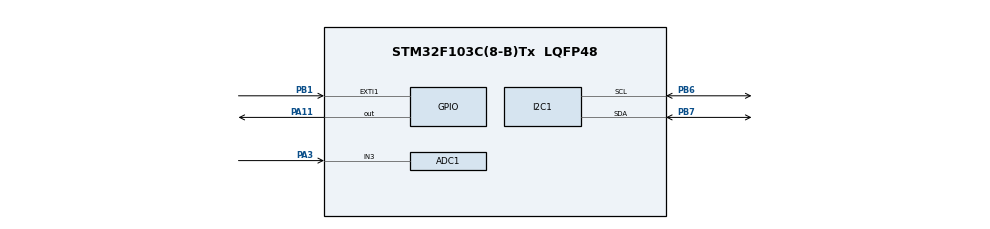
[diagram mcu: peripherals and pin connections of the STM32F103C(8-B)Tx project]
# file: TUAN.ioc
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ADC1.Channel-0\#ChannelRegularConversion=ADC_CHANNEL_3
ADC1.NbrOfConversionFlag=1
ADC1.Rank-0\#ChannelRegularConversion=1
ADC1.SamplingTime-0\#ChannelRegularConversion=ADC_SAMPLETIME_1CYCLE_5
ADC1.master=1
Mcu.Family=STM32F1
Mcu.Name=STM32F103C(8-B)Tx
Mcu.Package=LQFP48
NVIC.ADC1_2_IRQn=true\:0\:0\:false\:false\:true\:true\:true\:true
NVIC.EXTI1_IRQn=true\:2\:0\:true\:false\:true\:true\:true\:true
NVIC.PriorityGroup=NVIC_PRIORITYGROUP_4
PA11.Signal=GPIO_Output
PA13.Mode=Serial_Wire
PA13.Signal=SYS_JTMS-SWDIO
PA14.Mode=Serial_Wire
PA14.Signal=SYS_JTCK-SWCLK
PA3.Signal=ADCx_IN3
PB1.Signal=GPXTI1
PB6.Mode=I2C
PB6.Signal=I2C1_SCL
PB7.Mode=I2C
PB7.Signal=I2C1_SDA
PD0-OSC_IN.Mode=HSE-External-Oscillator
PD0-OSC_IN.Signal=RCC_OSC_IN
PD1-OSC_OUT.Mode=HSE-External-Oscillator
PD1-OSC_OUT.Signal=RCC_OSC_OUT
ProjectManager.HeapSize=0x200
ProjectManager.StackSize=0x400
ProjectManager.TargetToolchain=STM32CubeIDE
RCC.APB1Freq_Value=8000000
RCC.APB2Freq_Value=8000000
SH.ADCx_IN3.0=ADC1_IN3,IN3
board=custom

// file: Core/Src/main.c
/* USER CODE BEGIN Header */
/**
  ******************************************************************************
  * @file           : main.c
  * @brief          : Main program body
  ******************************************************************************
  * @attention
  *
  * Copyright (c) 2023 STMicroelectronics.
  * All rights reserved.
  *
  * This software is licensed under terms that can be found in the LICENSE file
  * in the root directory of this software component.
  * If no LICENSE file comes with this software, it is provided AS-IS.
  *
  ******************************************************************************
  */
/* USER CODE END Header */
#include "main.h"

/* USER CODE BEGIN Includes */
#include "stdio.h"
#include "i2c-lcd.h"

/* USER CODE END Includes */

ADC_HandleTypeDef hadc1;

I2C_HandleTypeDef hi2c1;

void SystemClock_Config(void);
static void MX_GPIO_Init(void);
static void MX_ADC1_Init(void);
static void MX_I2C1_Init(void);

/* USER CODE BEGIN 0 */
float t,v;
uint16_t value;
/*void HAL_GPIO_EXTI_Callback(uint16_t GPIO_Pin)
{
	if(GPIO_Pin==GPIO_PIN_1)
	{
		HAL_UART_Transmit(&huart1,send_data2,sizeof(send_data),100);
	}
	}*/

/* USER CODE END 0 */

int main(void)
{

  /* MCU Configuration--------------------------------------------------------*/

  /* Reset of all peripherals, Initializes the Flash interface and the Systick. */
  HAL_Init();

  /* Configure the system clock */
  SystemClock_Config();

  /* Initialize all configured peripherals */
  MX_GPIO_Init();
  MX_ADC1_Init();
  MX_I2C1_Init();
  /* USER CODE BEGIN 2 */
  uint16_t value;
  lcd_init();
  HAL_ADCEx_Calibration_Start(&hadc1);

  /* USER CODE END 2 */

  /* Infinite loop */
  while (1)
  {

    /* USER CODE BEGIN 3 */
	  /*HAL_ADC_Start(&hadc1);
	  HAL_ADC_PollForConversion(&hadc1,1000);
	  value = HAL_ADC_GetValue(&hadc1);
	  t = (value/4096.0)*3.3*100;
	  lcd_goto_XY(0,9);
	  char buffer[11];
	  sprintf(buffer,"%.2f",t);  // Changed %d to %.2f
	  lcd_send_string(buffer);
	  lcd_send_string(" C");*/
	  //HAL_GPIO_WritePin(GPIOA,GPIO_PIN_11,GPIO_PIN_SET);

	  HAL_ADC_Start(&hadc1);
	  HAL_ADC_PollForConversion(&hadc1,1000);
	  value = HAL_ADC_GetValue(&hadc1);
	  v=(value/4096.0)*3.3;

	  if(v<1){
		  HAL_GPIO_WritePin(GPIOA, GPIO_PIN_11,GPIO_PIN_SET);

		  lcd_goto_XY(0,0);
		  lcd_send_string("WANRNING!");
		  HAL_Delay(1000);

	  }
	  else{

		  HAL_GPIO_WritePin(GPIOA, GPIO_PIN_11, GPIO_PIN_RESET);
		  lcd_clear_display();
		  lcd_goto_XY(0,0);
		  lcd_send_string(" No Fire");
	  }

	  HAL_Delay(1000);

  }
  /* USER CODE END 3 */
}

void SystemClock_Config(void)
{
  RCC_OscInitTypeDef RCC_OscInitStruct = {0};
  RCC_ClkInitTypeDef RCC_ClkInitStruct = {0};
  RCC_PeriphCLKInitTypeDef PeriphClkInit = {0};

  /** Initializes the RCC Oscillators according to the specified parameters
  * in the RCC_OscInitTypeDef structure.
  */
  RCC_OscInitStruct.OscillatorType = RCC_OSCILLATORTYPE_HSI;
  RCC_OscInitStruct.HSIState = RCC_HSI_ON;
  RCC_OscInitStruct.HSICalibrationValue = RCC_HSICALIBRATION_DEFAULT;
  RCC_OscInitStruct.PLL.PLLState = RCC_PLL_NONE;
  if (HAL_RCC_OscConfig(&RCC_OscInitStruct) != HAL_OK)
  {
    Error_Handler();
  }

  /** Initializes the CPU, AHB and APB buses clocks
  */
  RCC_ClkInitStruct.ClockType = RCC_CLOCKTYPE_HCLK|RCC_CLOCKTYPE_SYSCLK
                              |RCC_CLOCKTYPE_PCLK1|RCC_CLOCKTYPE_PCLK2;
  RCC_ClkInitStruct.SYSCLKSource = RCC_SYSCLKSOURCE_HSI;
  RCC_ClkInitStruct.AHBCLKDivider = RCC_SYSCLK_DIV1;
  RCC_ClkInitStruct.APB1CLKDivider = RCC_HCLK_DIV1;
  RCC_ClkInitStruct.APB2CLKDivider = RCC_HCLK_DIV1;

  if (HAL_RCC_ClockConfig(&RCC_ClkInitStruct, FLASH_LATENCY_0) != HAL_OK)
  {
    Error_Handler();
  }
  PeriphClkInit.PeriphClockSelection = RCC_PERIPHCLK_ADC;
  PeriphClkInit.AdcClockSelection = RCC_ADCPCLK2_DIV2;
  if (HAL_RCCEx_PeriphCLKConfig(&PeriphClkInit) != HAL_OK)
  {
    Error_Handler();
  }
}

static void MX_ADC1_Init(void)
{

  ADC_ChannelConfTypeDef sConfig = {0};

  /** Common config
  */
  hadc1.Instance = ADC1;
  hadc1.Init.ScanConvMode = ADC_SCAN_DISABLE;
  hadc1.Init.ContinuousConvMode = DISABLE;
  hadc1.Init.DiscontinuousConvMode = DISABLE;
  hadc1.Init.ExternalTrigConv = ADC_SOFTWARE_START;
  hadc1.Init.DataAlign = ADC_DATAALIGN_RIGHT;
  hadc1.Init.NbrOfConversion = 1;
  if (HAL_ADC_Init(&hadc1) != HAL_OK)
  {
    Error_Handler();
  }

  /** Configure Regular Channel
  */
  sConfig.Channel = ADC_CHANNEL_3;
  sConfig.Rank = ADC_REGULAR_RANK_1;
  sConfig.SamplingTime = ADC_SAMPLETIME_1CYCLE_5;
  if (HAL_ADC_ConfigChannel(&hadc1, &sConfig) != HAL_OK)
  {
    Error_Handler();
  }

}

static void MX_I2C1_Init(void)
{

  hi2c1.Instance = I2C1;
  hi2c1.Init.ClockSpeed = 100000;
  hi2c1.Init.DutyCycle = I2C_DUTYCYCLE_2;
  hi2c1.Init.OwnAddress1 = 0;
  hi2c1.Init.AddressingMode = I2C_ADDRESSINGMODE_7BIT;
  hi2c1.Init.DualAddressMode = I2C_DUALADDRESS_DISABLE;
  hi2c1.Init.OwnAddress2 = 0;
  hi2c1.Init.GeneralCallMode = I2C_GENERALCALL_DISABLE;
  hi2c1.Init.NoStretchMode = I2C_NOSTRETCH_DISABLE;
  if (HAL_I2C_Init(&hi2c1) != HAL_OK)
  {
    Error_Handler();
  }

}

static void MX_GPIO_Init(void)
{
  GPIO_InitTypeDef GPIO_InitStruct = {0};

  /* GPIO Ports Clock Enable */
  __HAL_RCC_GPIOD_CLK_ENABLE();
  __HAL_RCC_GPIOA_CLK_ENABLE();
  __HAL_RCC_GPIOB_CLK_ENABLE();

  /*Configure GPIO pin Output Level */
  HAL_GPIO_WritePin(GPIOA, GPIO_PIN_11, GPIO_PIN_RESET);

  /*Configure GPIO pin : PB1 */
  GPIO_InitStruct.Pin = GPIO_PIN_1;
  GPIO_InitStruct.Mode = GPIO_MODE_IT_RISING;
  GPIO_InitStruct.Pull = GPIO_NOPULL;
  HAL_GPIO_Init(GPIOB, &GPIO_InitStruct);

  /*Configure GPIO pin : PA11 */
  GPIO_InitStruct.Pin = GPIO_PIN_11;
  GPIO_InitStruct.Mode = GPIO_MODE_OUTPUT_PP;
  GPIO_InitStruct.Pull = GPIO_NOPULL;
  GPIO_InitStruct.Speed = GPIO_SPEED_FREQ_LOW;
  HAL_GPIO_Init(GPIOA, &GPIO_InitStruct);

  /* EXTI interrupt init*/
  HAL_NVIC_SetPriority(EXTI1_IRQn, 2, 0);
  HAL_NVIC_EnableIRQ(EXTI1_IRQn);

}

void Error_Handler(void)
{
  __disable_irq();
  while (1)
  {
  }
}
